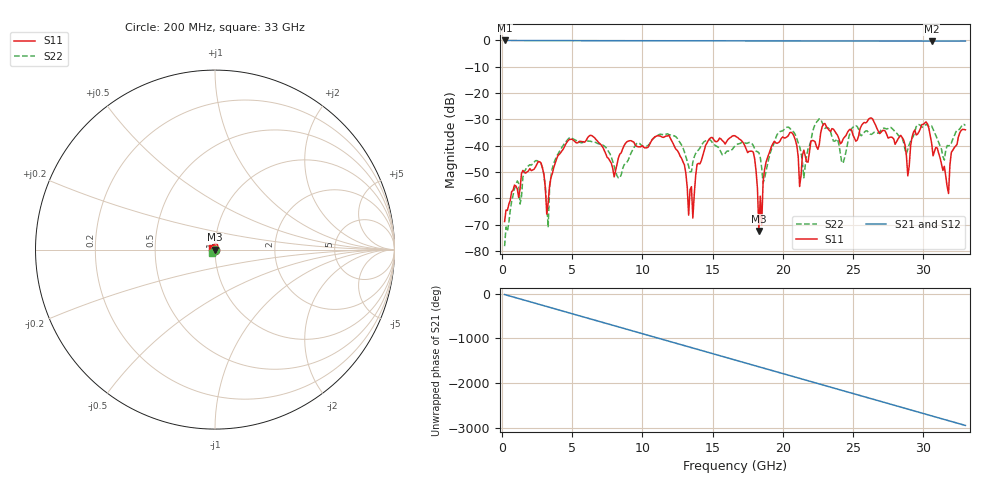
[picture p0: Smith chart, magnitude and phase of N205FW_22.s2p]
# GHZ S RI R 50
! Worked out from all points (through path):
!   329 points, 200 MHz to 33 GHz, reference 50 ohm
!   highest |S21| = -0.02 dB at 200 MHz (marker M1); lowest = -0.3 dB at 30.6 GHz (marker M2)
!   group delay of S21, straight-line fit = 248 ps
!   lowest |S11| = -72.4 dB at 18.3 GHz (marker M3), VSWR 1.00, Z = 50 + j0.0203 ohm
!   |S11| at or under -10 dB: start of sweep to end of sweep
!   |S22| runs from -78.2 to -29.8 dB; largest |S21 - S12| = 0.0022
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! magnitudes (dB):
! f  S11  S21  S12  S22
! 200 MHz  -68.8  0.0  0.0  -78.2
! 1.8 GHz  -50.0  -0.1  -0.1  -48.2
! 2.9 GHz  -48.6  -0.1  -0.1  -48.3
! 3.3 GHz  -61.8  -0.1  -0.1  -71.0
! 3.8 GHz  -46.7  -0.1  -0.1  -45.3
! 5.7 GHz  -38.5  -0.1  -0.1  -38.9
! 8.4 GHz  -43.2  -0.1  -0.1  -52.3
! 11.2 GHz  -36.3  -0.2  -0.2  -35.8
! 13.6 GHz  -67.5  -0.2  -0.2  -46.2
! 14.5 GHz  -40.0  -0.2  -0.2  -38.2
! 16.6 GHz  -36.2  -0.2  -0.2  -40.2
! 17.9 GHz  -42.4  -0.2  -0.2  -39.9
! 18.3 GHz  -72.4  -0.2  -0.2  -42.7
! 19.3 GHz  -39.2  -0.2  -0.2  -40.2
! 20.7 GHz  -35.4  -0.2  -0.2  -34.4
! 21.2 GHz  -55.5  -0.2  -0.2  -40.4
! 22.1 GHz  -38.0  -0.2  -0.2  -35.3
! 27.6 GHz  -36.9  -0.2  -0.2  -33.0
! 28.9 GHz  -51.5  -0.3  -0.3  -41.5
! 30.6 GHz  -39.2  -0.3  -0.3  -32.5
! 31.8 GHz  -58.2  -0.3  -0.3  -40.0
! 33 GHz  -34.0  -0.2  -0.2  -32.3
